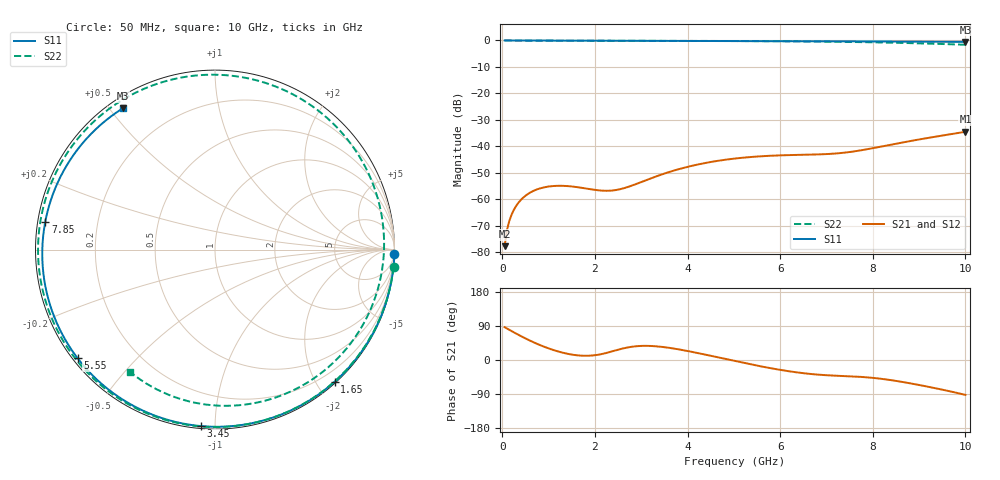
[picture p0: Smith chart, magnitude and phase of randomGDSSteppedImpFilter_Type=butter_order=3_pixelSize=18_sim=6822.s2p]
! freq	dB(S11)	phase(S11)	dB(S12)	phase(S12)
!  dB(S21)	phase(S21)	dB(S22)	phase(S22)
!S-par simulation data
#  GHz  S  DB  R 50
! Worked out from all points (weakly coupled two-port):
!   200 points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, 50 MHz to 10 GHz, reference 50 ohm
!   highest |S21| = -34.46 dB at 10 GHz (marker M1); lowest = -77.6 dB at 50 MHz (marker M2)
!   lowest |S11| = -0.5 dB at 10 GHz (marker M3), VSWR 32.30, Z = 2 + j27 ohm
!   |S11| at or under -10 dB: nowhere
!   |S22| runs from -1.6 to 0.0 dB; largest |S21 - S12| = 0
!   S11 on the Smith chart (normalised r, x): 50 MHz: 1, -77; 1.65 GHz: 0.02, -2.25; 3.45 GHz: 0.01, -0.92; 5.55 GHz: 0.01, -0.35; 7.85 GHz: 0.02, +0.08; 10 GHz: 0.04, +0.54
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0.05  -0.00 -1.5  -77.63 86.5  -77.63 86.5  -0.00 -5.5
0.1  -0.00 -3.0  -71.64 83.1  -71.64 83.1  -0.01 -10.9
0.2  -0.01 -6.0  -65.74 76.3  -65.74 76.3  -0.03 -21.7
0.5  -0.02 -14.9  -58.60 56.9  -58.60 56.9  -0.07 -52.2
0.75  -0.03 -22.2  -56.20 42.7  -56.20 42.7  -0.09 -75.0
1  -0.04 -29.4  -55.12 30.6  -55.12 30.6  -0.10 -95.0
1.3  -0.05 -38.1  -54.85 19.4  -54.85 19.4  -0.10 -115.6
1.65  -0.06 -47.9  -55.43 12.0  -55.43 12.0  -0.11 -135.9
1.75  -0.06 -50.7  -55.69 11.2  -55.69 11.2  -0.11 -141.1
2.5  -0.09 -70.8  -56.30 27.2  -56.30 27.2  -0.12 -174.7
3.4  -0.12 -93.4  -50.82 35.2  -50.82 35.2  -0.14 151.9
3.45  -0.12 -94.7  -50.52 34.6  -50.52 34.6  -0.14 150.2
4.3  -0.15 -114.5  -46.52 16.3  -46.52 16.3  -0.17 120.7
5.05  -0.19 -131.1  -44.51 -3.4  -44.51 -3.4  -0.22 94.0
5.55  -0.21 -141.7  -43.74 -16.0  -43.74 -16.0  -0.26 75.3
6.1  -0.24 -153.2  -43.30 -28.0  -43.30 -28.0  -0.31 53.6
6.7  -0.28 -165.6  -43.06 -37.4  -43.06 -37.4  -0.40 28.5
7.3  -0.33 -178.0  -42.50 -42.0  -42.50 -42.0  -0.51 2.2
7.85  -0.37 170.6  -41.14 -45.5  -41.14 -45.5  -0.65 -22.8
8.35  -0.41 160.0  -39.46 -52.3  -39.46 -52.3  -0.82 -46.0
9.2  -0.48 141.5  -36.76 -70.7  -36.76 -70.7  -1.18 -86.0
10  -0.54 123.2  -34.46 -92.0  -34.46 -92.0  -1.62 -124.7
